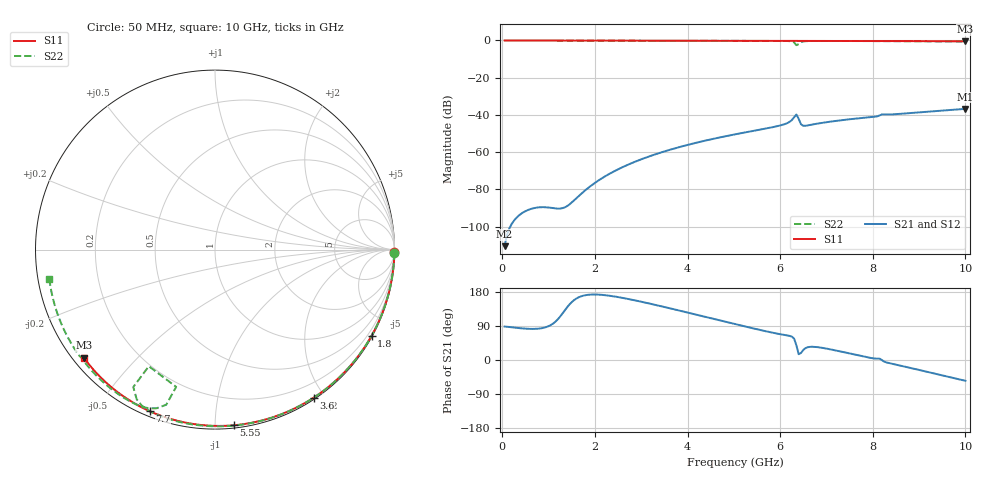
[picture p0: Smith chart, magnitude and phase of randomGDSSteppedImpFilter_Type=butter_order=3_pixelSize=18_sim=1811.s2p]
! freq	dB(S11)	phase(S11)	dB(S12)	phase(S12)
!  dB(S21)	phase(S21)	dB(S22)	phase(S22)
!S-par simulation data
#  GHz  S  DB  R 50
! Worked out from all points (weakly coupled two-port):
!   200 points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, 50 MHz to 10 GHz, reference 50 ohm
!   highest |S21| = -36.75 dB at 10 GHz (marker M1); lowest = -110.5 dB at 50 MHz (marker M2)
!   lowest |S11| = -0.5 dB at 10 GHz (marker M3), VSWR 36.55, Z = 1.54 - j18 ohm
!   |S11| at or under -10 dB: nowhere
!   |S22| runs from -2.5 to 0.0 dB; largest |S21 - S12| = 0
!   S11 on the Smith chart (normalised r, x): 50 MHz: open; 1.8 GHz: 0.03, -3.89; 3.6 GHz: 0.02, -1.87; 5.55 GHz: 0.02, -1.11; 7.7 GHz: 0.02, -0.67; 10 GHz: 0.03, -0.36
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0.05  -0.00 -0.8  -110.47 88.2  -110.47 88.2  -0.00 -1.0
0.85  -0.02 -13.8  -89.53 83.9  -89.53 83.9  -0.02 -16.7
1.75  -0.04 -28.1  -81.35 169.8  -81.35 169.8  -0.04 -34.1
1.8  -0.04 -28.8  -80.30 171.1  -80.30 171.1  -0.04 -35.0
2.15  -0.04 -34.3  -74.02 171.9  -74.02 171.9  -0.05 -41.6
2.5  -0.05 -39.7  -69.19 166.1  -69.19 166.1  -0.06 -48.1
3.4  -0.07 -53.3  -60.37 142.7  -60.37 142.7  -0.09 -64.5
3.6  -0.08 -56.3  -58.84 137.0  -58.84 137.0  -0.09 -68.0
5.05  -0.12 -77.1  -50.29 94.1  -50.29 94.1  -0.14 -93.0
5.55  -0.14 -83.9  -47.95 79.7  -47.95 79.7  -0.17 -101.5
6  -0.16 -90.0  -45.66 68.1  -45.66 68.1  -0.22 -109.8
6.2  -0.17 -92.6  -43.77 63.8  -43.77 63.8  -0.37 -115.3
6.3  -0.17 -94.0  -41.34 56.8  -41.34 56.8  -1.00 -120.7
6.35  -0.17 -94.6  -39.77 38.9  -39.77 38.9  -2.53 -119.6
6.4  -0.18 -95.3  -42.08 15.3  -42.08 15.3  -1.99 -105.8
6.45  -0.18 -95.9  -45.03 18.6  -45.03 18.6  -0.86 -107.5
6.5  -0.18 -96.6  -45.83 26.7  -45.83 26.7  -0.52 -110.2
6.7  -0.19 -99.2  -45.12 34.9  -45.12 34.9  -0.29 -116.3
7.7  -0.26 -112.0  -41.78 11.9  -41.78 11.9  -0.32 -133.5
8.2  -0.30 -118.3  -39.68 -0.4  -39.68 -0.4  -0.37 -141.1
8.35  -0.31 -120.1  -39.77 -8.1  -39.77 -8.1  -0.36 -143.6
10  -0.48 -140.5  -36.75 -54.9  -36.75 -54.9  -0.56 -169.9
